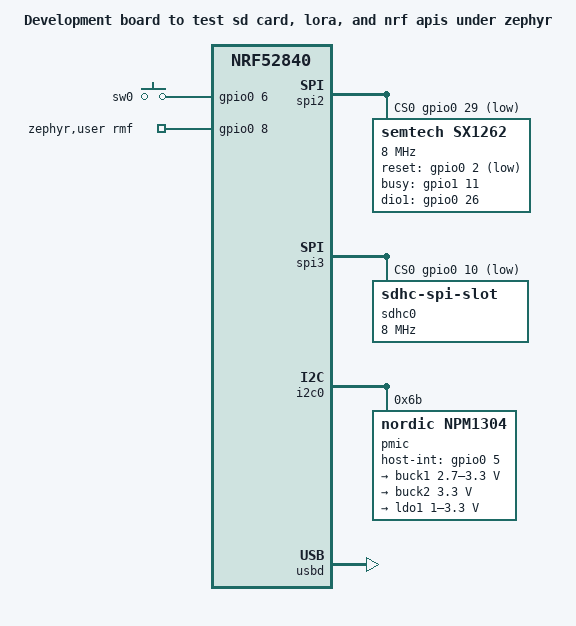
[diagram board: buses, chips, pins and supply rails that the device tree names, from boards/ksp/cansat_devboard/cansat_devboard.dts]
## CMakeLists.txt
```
cmake_minimum_required(VERSION 3.20.0)
find_package(Zephyr REQUIRED HINTS $ENV{ZEPHYR_BASE})

project(Firmware)

target_sources(app PRIVATE
	src/main.c
	src/hal/battery.c
)
```

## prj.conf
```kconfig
CONFIG_FILE_SYSTEM=y
CONFIG_FAT_FILESYSTEM_ELM=y

# USB CDC ACM serial console
CONFIG_SERIAL=y
CONFIG_CONSOLE=y
CONFIG_UART_CONSOLE=y
CONFIG_UART_LINE_CTRL=y
CONFIG_UART_INTERRUPT_DRIVEN=y
CONFIG_USB_DEVICE_STACK_NEXT=y


CONFIG_LOG=y

# Battery management (nPM1300 charger)
CONFIG_SENSOR=y
```

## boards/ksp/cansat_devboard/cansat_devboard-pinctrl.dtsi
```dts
&pinctrl {
	//battery management I2C
	i2c0_default: i2c0_default {
		group1 {
			psels = <NRF_PSEL(TWIM_SCL, 0, 30)>,
				<NRF_PSEL(TWIM_SDA, 0, 31)>;
		};
	};

	i2c0_sleep: i2c0_sleep {
		group1 {
			psels = <NRF_PSEL(TWIM_SCL, 0, 30)>,
				<NRF_PSEL(TWIM_SDA, 0, 31)>;
			low-power-enable;
		};
	};

	//Lora SPI
	spi2_default: spi2_default {
		group1 {
			psels = <NRF_PSEL(SPIM_SCK, 1, 13)>,
				<NRF_PSEL(SPIM_MOSI, 0, 28)>,
				<NRF_PSEL(SPIM_MISO, 0, 3)>;
		};
	};

	spi2_sleep: spi2_sleep {
		group1 {
			psels = <NRF_PSEL(SPIM_SCK, 1, 13)>,
				<NRF_PSEL(SPIM_MOSI, 0, 28)>,
				<NRF_PSEL(SPIM_MISO, 0, 3)>;
			low-power-enable;
		};
	};

	//SD Card SPI
	spi3_default: spi3_default {
		group1 {
			psels = <NRF_PSEL(SPIM_SCK, 0, 24)>,
				<NRF_PSEL(SPIM_MOSI, 0, 9)>,
				<NRF_PSEL(SPIM_MISO, 0, 13)>;
		};
	};

	spi3_sleep: spi3_sleep {
		group1 {
			psels = <NRF_PSEL(SPIM_SCK, 0, 24)>,
				<NRF_PSEL(SPIM_MOSI, 0, 9)>,
				<NRF_PSEL(SPIM_MISO, 0, 13)>;
			low-power-enable;
		};
	};
};
```

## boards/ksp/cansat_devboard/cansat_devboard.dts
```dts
/dts-v1/;

#include <nordic/nrf52840_qiaa.dtsi>
#include <zephyr/dt-bindings/gpio/gpio.h>
#include "cansat_devboard-pinctrl.dtsi"

/ {
	model = "Development board to test sd card, lora, and nrf apis under zephyr";
	compatible = "ksp,cansat-devboard";

	chosen {
		zephyr,sram = &sram0;
		zephyr,flash = &flash0;
		zephyr,code-partition = &slot0_partition;
		zephyr,console = &board_cdc_acm_uart;
		zephyr,shell-uart = &board_cdc_acm_uart;
	};

	buttons {
		compatible = "gpio-keys";

		sw0: sw0 {
			gpios = <&gpio0 6 0>;
			label = "sw0";
		};
	};

	zephyr,user {
		rmf-gpios = <&gpio0 8 GPIO_ACTIVE_HIGH>;
	};
};

// SX1262 LoRa radio
&spi2 {
	status = "okay";
	cs-gpios = <&gpio0 29 GPIO_ACTIVE_LOW>;
	pinctrl-0 = <&spi2_default>;
	pinctrl-1 = <&spi2_sleep>;
	pinctrl-names = "default", "sleep";

	sx1262: lora@0 {
		compatible = "semtech,sx1262";
		reg = <0x0>;
		spi-max-frequency = <DT_FREQ_M(8)>;
		status = "okay";
		reset-gpios = <&gpio0 2 GPIO_ACTIVE_LOW>;
		busy-gpios = <&gpio1 11 GPIO_ACTIVE_HIGH>;
		dio1-gpios = <&gpio0 26 0>;
	};
};

// microSD card over SPI
&spi3 {
	status = "okay";
	cs-gpios = <&gpio0 10 GPIO_ACTIVE_LOW>;
	pinctrl-0 = <&spi3_default>;
	pinctrl-1 = <&spi3_sleep>;
	pinctrl-names = "default", "sleep";

	sdhc0: sdhc@0 {
		compatible = "zephyr,sdhc-spi-slot";
		reg = <0x0>;
		spi-max-frequency = <DT_FREQ_M(8)>;
		status = "okay";

		mmc: mmc {
			compatible = "zephyr,sdmmc-disk";
			disk-name = "SD";
			status = "okay";
		};
	};
};

// nPM13xx battery-management IC
&i2c0 {
	status = "okay";
	pinctrl-0 = <&i2c0_default>;
	pinctrl-1 = <&i2c0_sleep>;
	pinctrl-names = "default", "sleep";

	pmic: pmic@6b {
		compatible = "nordic,npm1304";
		reg = <0x6b>;
		status = "okay";
		/* PMIC GPIO1 -> host P0.05. */
		host-int-gpios = <&gpio0 5 (GPIO_PULL_DOWN | GPIO_ACTIVE_HIGH)>;
		pmic-int-pin = <1>;
		wakeup-source;

		npm13xx_charger: charger {
			compatible = "nordic,npm1304-charger";
			term-microvolt = <4200000>;
			term-warm-microvolt = <4000000>;
			current-microamp = <100000>;
			dischg-limit-microamp = <125000>;
			vbus-limit-microamp = <1500000>;
			thermistor-ohms = <10000>;
			thermistor-beta = <47000>;
			charging-enable;
		};

		regulators {
			compatible = "nordic,npm1304-regulator";

			buck1: V3v3 {
				regulator-min-microvolt = <2700000>;
				regulator-max-microvolt = <3300000>;
				regulator-init-microvolt = <3300000>;

				regulator-boot-on;
			};

			buck2: VMCU {
				regulator-min-microvolt = <3300000>;
				regulator-max-microvolt = <3300000>;
				regulator-init-microvolt = <3300000>;

				regulator-boot-on;
				regulator-always-on;
			};

			ldo1: VLDO {
				regulator-min-microvolt = <1000000>;
				regulator-max-microvolt = <3300000>;
			};
		};
	};
};

&flash0 {
	partitions {
		compatible = "fixed-partitions";
		#address-cells = <1>;
		#size-cells = <1>;

		boot_partition: partition@0 {
			label = "mcuboot";
			reg = <0x0 DT_SIZE_K(48)>;
		};

		slot0_partition: partition@c000 {
			label = "image-0";
			reg = <0xc000 DT_SIZE_K(472)>;
		};

		slot1_partition: partition@82000 {
			label = "image-1";
			reg = <0x82000 DT_SIZE_K(472)>;
		};

		storage_partition: partition@f8000 {
			label = "storage";
			reg = <0xf8000 DT_SIZE_K(32)>;
		};
	};
};

zephyr_udc0: &usbd {
	status = "okay";
};

&zephyr_udc0 {
	board_cdc_acm_uart: board_cdc_acm_uart {
		compatible = "zephyr,cdc-acm-uart";
	};
};

&gpiote {
	status = "okay";
};

&gpio0 {
	status = "okay";
};

&gpio1 {
	status = "okay";
};
```

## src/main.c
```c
#include <zephyr/kernel.h>
#include <zephyr/sys/util.h>
#include <zephyr/logging/log.h>

#include "hal/battery.h"
#include "state.h"

Cansat_payload cansat_payload;
K_MUTEX_DEFINE(cansat_payload_lock);


int main(void)
{
	


	while (1) {

	}

	return 0;
}
```

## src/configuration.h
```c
#ifndef CONFIGURATION_H_
#define CONFIGURATION_H_

#include <stdbool.h>
#include <stdint.h>

typedef struct {
	uint32_t lora_frequency;
	uint32_t lora_power;
	uint32_t lora_timer;
	bool lora_enabled;

	uint32_t sd_card_timer;
	bool sd_card_enabled;

	uint32_t usb_timer;
	bool usb_enabled;
} default_config_t;

const default_config_t *configuration_get(void);

#endif /* CONFIGURATION_H_ */
```

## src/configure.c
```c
#include "configuration.h"

static const default_config_t default_config = {
	.lora_frequency = 868000000U,
	.lora_power = 14U,
	.lora_timer = 30U,
	.lora_enabled = false,
	.sd_card_timer = 5U,
	.sd_card_enabled = false,
	.usb_timer = 1U,
	.usb_enabled = true,
};

const default_config_t *configuration_get(void)
{
	return &default_config;
}
```

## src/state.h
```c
#pragma once

#include <stdint.h>
#include <stdbool.h>
#include <zephyr/kernel.h>

typedef struct{
    uint32_t uptime;
    uint16_t battery_percentage;
    uint16_t battery_voltage;
    uint16_t battery_current;
    uint16_t battery_temperature;

    
} Cansat_payload;

extern Cansat_payload cansat_payload;
extern struct k_mutex cansat_payload_lock;
```
